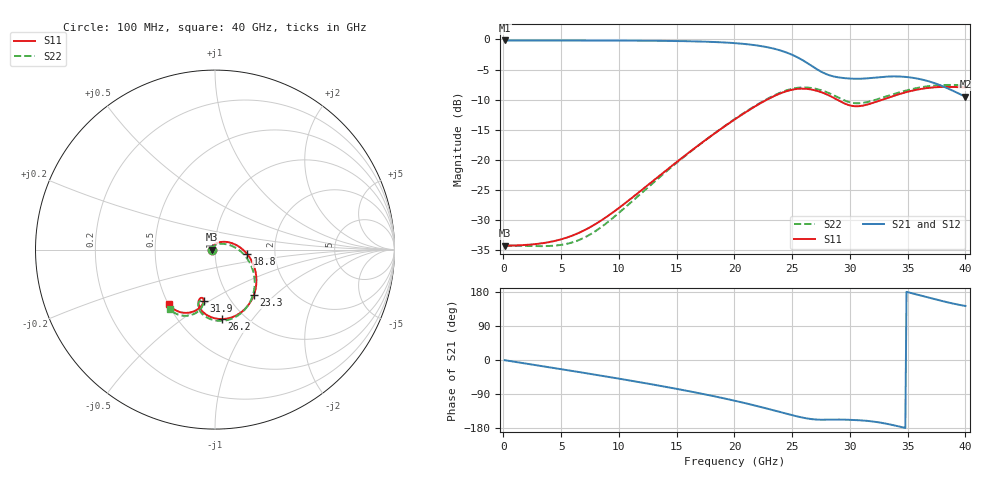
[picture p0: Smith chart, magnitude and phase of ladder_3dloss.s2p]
# Hz S RI R 50
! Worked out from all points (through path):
!   400 points, 100 MHz to 40 GHz, reference 50 ohm
!   highest |S21| = -0.17 dB at 100 MHz (marker M1); lowest = -9.5 dB at 40 GHz (marker M2)
!   group delay of S21, straight-line fit = 15.1 ps
!   lowest |S11| = -34.3 dB at 100 MHz (marker M3), VSWR 1.04, Z = 48.1 + j0.03 ohm
!   |S11| at or under -10 dB: start of sweep to 22.83 GHz; 28.87 GHz to 32.83 GHz (3.957 GHz wide, 12.8 % of centre)
!   |S22| runs from -34.4 to -7.6 dB; largest |S21 - S12| = 0
!   S11 on the Smith chart (normalised r, x): 100 MHz: 0.96, +0.00; 18.8 GHz: 1.43, -0.07; 23.3 GHz: 1.31, -0.75; 26.2 GHz: 0.79, -0.72; 31.9 GHz: 0.75, -0.47; 40 GHz: 0.50, -0.37
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1e8  -0.0193 0.000312  0.9807 -0.00824  0.9807 -0.00824  -0.0193 0.00031
3.9e9  -0.0161 0.0129  0.928 -0.3166  0.928 -0.3166  -0.0147 0.0123
6.8e9  -0.00744 0.0242  0.8213 -0.5346  0.8213 -0.5346  -0.00378 0.0217
1e10  0.0139 0.0372  0.6393 -0.7407  0.6393 -0.7407  0.0197 0.0303
1.34e10  0.0579 0.0432  0.3773 -0.8981  0.3773 -0.8981  0.0634 0.0298
1.62e10  0.1143 0.0275  0.1156 -0.9584  0.1156 -0.9584  0.1165 0.00911
1.88e10  0.178 -0.0234  -0.1521 -0.9348  -0.1521 -0.9348  0.1747 -0.0439
2.01e10  0.2075 -0.0694  -0.2873 -0.8852  -0.2873 -0.8852  0.2013 -0.0893
2.17e10  0.2298 -0.1498  -0.4425 -0.7816  -0.4425 -0.7816  0.2207 -0.1673
2.33e10  0.2161 -0.2537  -0.564 -0.6271  -0.564 -0.6271  0.2065 -0.267
2.48e10  0.1468 -0.3484  -0.6148 -0.4459  -0.6148 -0.4459  0.1402 -0.3582
2.62e10  0.0385 -0.387  -0.5799 -0.2855  -0.5799 -0.2855  0.0367 -0.3971
2.67e10  0.00012 -0.383  -0.5502 -0.2444  -0.5502 -0.2444  -0.000384 -0.3943
2.75e10  -0.0506 -0.3614  -0.4992 -0.2056  -0.4992 -0.2056  -0.0502 -0.3753
2.87e10  -0.0901 -0.3101  -0.4515 -0.1898  -0.4515 -0.1898  -0.0913 -0.3271
3.03e10  -0.0764 -0.2686  -0.4378 -0.1748  -0.4378 -0.1748  -0.081 -0.2848
3.19e10  -0.0633 -0.2881  -0.4553 -0.1483  -0.4553 -0.1483  -0.067 -0.3012
3.34e10  -0.081 -0.32  -0.4839 -0.0886  -0.4839 -0.0886  -0.0815 -0.3322
3.48e10  -0.1166 -0.3437  -0.4882 -0.00492  -0.4882 -0.00492  -0.1139 -0.3569
3.61e10  -0.1594 -0.3526  -0.4608 0.0777  -0.4608 0.0777  -0.1542 -0.3683
3.8e10  -0.2189 -0.3384  -0.3728 0.17  -0.3728 0.17  -0.2126 -0.3593
4e10  -0.2561 -0.3053  -0.2653 0.2034  -0.2653 0.2034  -0.2517 -0.331
